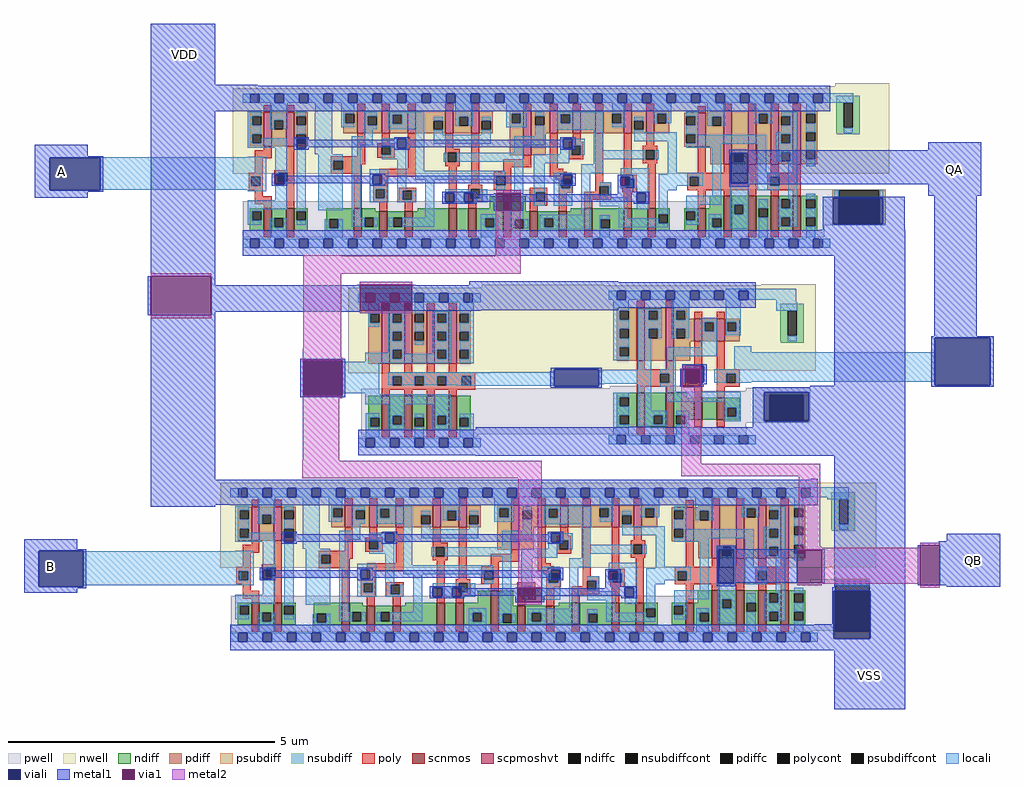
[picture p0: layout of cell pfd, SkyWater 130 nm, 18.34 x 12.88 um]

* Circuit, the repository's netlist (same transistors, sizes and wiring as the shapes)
* NGSPICE file created from pfd.ext - technology: sky130A

.subckt sky130_fd_sc_hd__dfrbp_2 CLK D RESET_B VGND VNB VPB VPWR Q Q_N
X0 a_1217_47# a_27_47# a_1108_47# VNB sky130_fd_pr__nfet_01v8 ad=0.0669 pd=0.75 as=0.0711 ps=0.755 w=0.36 l=0.15
X1 a_805_47# a_761_289# a_639_47# VNB sky130_fd_pr__nfet_01v8 ad=0.0441 pd=0.63 as=0.1401 ps=1.1 w=0.42 l=0.15
X2 a_1108_47# a_193_47# a_761_289# VNB sky130_fd_pr__nfet_01v8 ad=0.0711 pd=0.755 as=0.0999 ps=0.985 w=0.36 l=0.15
X3 a_1283_21# a_1108_47# a_1462_47# VNB sky130_fd_pr__nfet_01v8 ad=0.1092 pd=1.36 as=0.06405 ps=0.725 w=0.42 l=0.15
X4 Q_N a_1659_47# VGND VNB sky130_fd_pr__nfet_01v8 ad=0.08775 pd=0.92 as=0.08775 ps=0.92 w=0.65 l=0.15
X5 a_651_413# a_27_47# a_543_47# VPB sky130_fd_pr__pfet_01v8_hvt ad=0.1155 pd=0.97 as=0.07245 ps=0.765 w=0.42 l=0.15
X6 VGND RESET_B a_805_47# VNB sky130_fd_pr__nfet_01v8 ad=0.1346 pd=1.15 as=0.0441 ps=0.63 w=0.42 l=0.15
X7 VPWR a_1283_21# Q VPB sky130_fd_pr__pfet_01v8_hvt ad=0.135 pd=1.27 as=0.155 ps=1.31 w=1 l=0.15
X8 VPWR CLK a_27_47# VPB sky130_fd_pr__pfet_01v8_hvt ad=0.0864 pd=0.91 as=0.1664 ps=1.8 w=0.64 l=0.15
X9 a_448_47# D VPWR VPB sky130_fd_pr__pfet_01v8_hvt ad=0.0651 pd=0.73 as=0.1092 ps=1.36 w=0.42 l=0.15
X10 VPWR a_1283_21# a_1659_47# VPB sky130_fd_pr__pfet_01v8_hvt ad=0.1522 pd=1.335 as=0.1664 ps=1.8 w=0.64 l=0.15
X11 a_761_289# a_543_47# VGND VNB sky130_fd_pr__nfet_01v8 ad=0.0999 pd=0.985 as=0.1346 ps=1.15 w=0.64 l=0.15
X12 VGND a_1283_21# a_1659_47# VNB sky130_fd_pr__nfet_01v8 ad=0.10025 pd=0.985 as=0.1092 ps=1.36 w=0.42 l=0.15
X13 a_193_47# a_27_47# VGND VNB sky130_fd_pr__nfet_01v8 ad=0.1092 pd=1.36 as=0.0567 ps=0.69 w=0.42 l=0.15
X14 a_1108_47# a_27_47# a_761_289# VPB sky130_fd_pr__pfet_01v8_hvt ad=0.0588 pd=0.7 as=0.12915 ps=1.185 w=0.42 l=0.15
X15 VPWR a_1659_47# Q_N VPB sky130_fd_pr__pfet_01v8_hvt ad=0.31 pd=2.62 as=0.135 ps=1.27 w=1 l=0.15
X16 a_543_47# a_27_47# a_448_47# VNB sky130_fd_pr__nfet_01v8 ad=0.0594 pd=0.69 as=0.066 ps=0.745 w=0.36 l=0.15
X17 a_1462_47# RESET_B VGND VNB sky130_fd_pr__nfet_01v8 ad=0.06405 pd=0.725 as=0.12495 ps=1.015 w=0.42 l=0.15
X18 VGND a_1659_47# Q_N VNB sky130_fd_pr__nfet_01v8 ad=0.2015 pd=1.92 as=0.08775 ps=0.92 w=0.65 l=0.15
X19 a_543_47# a_193_47# a_448_47# VPB sky130_fd_pr__pfet_01v8_hvt ad=0.07245 pd=0.765 as=0.0651 ps=0.73 w=0.42 l=0.15
X20 a_448_47# D VGND VNB sky130_fd_pr__nfet_01v8 ad=0.066 pd=0.745 as=0.2205 ps=1.89 w=0.42 l=0.15
X21 VPWR a_1283_21# a_1270_413# VPB sky130_fd_pr__pfet_01v8_hvt ad=0.0819 pd=0.81 as=0.0567 ps=0.69 w=0.42 l=0.15
X22 VPWR a_1108_47# a_1283_21# VPB sky130_fd_pr__pfet_01v8_hvt ad=0.1197 pd=1.41 as=0.0567 ps=0.69 w=0.42 l=0.15
X23 a_1270_413# a_193_47# a_1108_47# VPB sky130_fd_pr__pfet_01v8_hvt ad=0.0567 pd=0.69 as=0.0588 ps=0.7 w=0.42 l=0.15
X24 a_193_47# a_27_47# VPWR VPB sky130_fd_pr__pfet_01v8_hvt ad=0.1664 pd=1.8 as=0.0864 ps=0.91 w=0.64 l=0.15
X25 a_1283_21# RESET_B VPWR VPB sky130_fd_pr__pfet_01v8_hvt ad=0.0567 pd=0.69 as=0.0819 ps=0.81 w=0.42 l=0.15
X26 Q a_1283_21# VGND VNB sky130_fd_pr__nfet_01v8 ad=0.10075 pd=0.96 as=0.10025 ps=0.985 w=0.65 l=0.15
X27 VPWR a_761_289# a_651_413# VPB sky130_fd_pr__pfet_01v8_hvt ad=0.07035 pd=0.755 as=0.1155 ps=0.97 w=0.42 l=0.15
X28 VGND a_1283_21# Q VNB sky130_fd_pr__nfet_01v8 ad=0.08775 pd=0.92 as=0.10075 ps=0.96 w=0.65 l=0.15
X29 Q_N a_1659_47# VPWR VPB sky130_fd_pr__pfet_01v8_hvt ad=0.135 pd=1.27 as=0.135 ps=1.27 w=1 l=0.15
X30 Q a_1283_21# VPWR VPB sky130_fd_pr__pfet_01v8_hvt ad=0.155 pd=1.31 as=0.1522 ps=1.335 w=1 l=0.15
X31 a_639_47# a_193_47# a_543_47# VNB sky130_fd_pr__nfet_01v8 ad=0.1401 pd=1.1 as=0.0594 ps=0.69 w=0.36 l=0.15
X32 VGND a_1283_21# a_1217_47# VNB sky130_fd_pr__nfet_01v8 ad=0.12495 pd=1.015 as=0.0669 ps=0.75 w=0.42 l=0.15
X33 a_651_413# RESET_B VPWR VPB sky130_fd_pr__pfet_01v8_hvt ad=0.1092 pd=1.36 as=0.07035 ps=0.755 w=0.42 l=0.15
X34 VGND CLK a_27_47# VNB sky130_fd_pr__nfet_01v8 ad=0.0567 pd=0.69 as=0.1092 ps=1.36 w=0.42 l=0.15
X35 a_761_289# a_543_47# VPWR VPB sky130_fd_pr__pfet_01v8_hvt ad=0.12915 pd=1.185 as=0.2184 ps=2.2 w=0.84 l=0.15
.ends

.subckt sky130_fd_sc_hd__and2_2 A B VGND VNB VPB VPWR X
X0 X a_61_75# VPWR VPB sky130_fd_pr__pfet_01v8_hvt ad=0.195 pd=1.39 as=0.16655 ps=1.39 w=1 l=0.15
X1 VPWR a_61_75# X VPB sky130_fd_pr__pfet_01v8_hvt ad=0.38 pd=2.76 as=0.195 ps=1.39 w=1 l=0.15
X2 VPWR B a_61_75# VPB sky130_fd_pr__pfet_01v8_hvt ad=0.16655 pd=1.39 as=0.0567 ps=0.69 w=0.42 l=0.15
X3 VGND B a_147_75# VNB sky130_fd_pr__nfet_01v8 ad=0.1118 pd=1.04 as=0.0567 ps=0.69 w=0.42 l=0.15
X4 X a_61_75# VGND VNB sky130_fd_pr__nfet_01v8 ad=0.12675 pd=1.04 as=0.1118 ps=1.04 w=0.65 l=0.15
X5 VGND a_61_75# X VNB sky130_fd_pr__nfet_01v8 ad=0.247 pd=2.06 as=0.12675 ps=1.04 w=0.65 l=0.15
X6 a_61_75# A VPWR VPB sky130_fd_pr__pfet_01v8_hvt ad=0.0567 pd=0.69 as=0.1176 ps=1.4 w=0.42 l=0.15
X7 a_147_75# A a_61_75# VNB sky130_fd_pr__nfet_01v8 ad=0.0567 pd=0.69 as=0.1176 ps=1.4 w=0.42 l=0.15
.ends

.subckt sky130_fd_sc_hd__inv_4 A VGND VNB VPB VPWR Y
X0 VPWR A Y VPB sky130_fd_pr__pfet_01v8_hvt ad=0.26 pd=2.52 as=0.135 ps=1.27 w=1 l=0.15
X1 Y A VPWR VPB sky130_fd_pr__pfet_01v8_hvt ad=0.135 pd=1.27 as=0.135 ps=1.27 w=1 l=0.15
X2 Y A VGND VNB sky130_fd_pr__nfet_01v8 ad=0.08775 pd=0.92 as=0.169 ps=1.82 w=0.65 l=0.15
X3 VPWR A Y VPB sky130_fd_pr__pfet_01v8_hvt ad=0.135 pd=1.27 as=0.135 ps=1.27 w=1 l=0.15
X4 VGND A Y VNB sky130_fd_pr__nfet_01v8 ad=0.08775 pd=0.92 as=0.08775 ps=0.92 w=0.65 l=0.15
X5 Y A VPWR VPB sky130_fd_pr__pfet_01v8_hvt ad=0.135 pd=1.27 as=0.26 ps=2.52 w=1 l=0.15
X6 VGND A Y VNB sky130_fd_pr__nfet_01v8 ad=0.169 pd=1.82 as=0.08775 ps=0.92 w=0.65 l=0.15
X7 Y A VGND VNB sky130_fd_pr__nfet_01v8 ad=0.08775 pd=0.92 as=0.08775 ps=0.92 w=0.65 l=0.15
.ends

.subckt pfd VSS VDD A QA QB B
Xx1 A VDD x4/Y VSS VSS VDD VDD QA x1/Q_N sky130_fd_sc_hd__dfrbp_2
Xx2 QA QB VSS VSS VDD VDD x4/A sky130_fd_sc_hd__and2_2
Xx3 B VDD x4/Y VSS VSS VDD VDD QB x3/Q_N sky130_fd_sc_hd__dfrbp_2
Xx4 x4/A VSS VSS VDD VDD x4/Y sky130_fd_sc_hd__inv_4
.ends

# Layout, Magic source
magic
tech sky130A
magscale 1 2
<< nwell >>
rect 3704 374 3908 384
rect 3672 328 3908 374
rect 3704 44 3908 328
rect 2376 -702 2832 -372
rect 3426 -696 3632 -370
rect 3674 -1434 3858 -1116
<< pwell >>
rect 3656 -150 3894 -14
rect 2360 -934 2862 -762
rect 3368 -892 3610 -760
rect 3610 -1674 3834 -1480
<< psubdiff >>
rect 3694 -148 3718 -18
rect 3870 -148 3894 -18
rect 3434 -882 3458 -786
rect 3584 -882 3608 -786
rect 3704 -1502 3834 -1478
rect 3704 -1700 3834 -1676
<< nsubdiff >>
rect 3708 311 3796 338
rect 3708 217 3737 311
rect 3771 217 3796 311
rect 3708 198 3796 217
rect 3710 192 3796 198
rect 3498 -471 3586 -444
rect 3498 -565 3527 -471
rect 3561 -565 3586 -471
rect 3498 -584 3586 -565
rect 3500 -590 3586 -584
rect 3690 -1179 3778 -1152
rect 3690 -1273 3719 -1179
rect 3753 -1273 3778 -1179
rect 3690 -1292 3778 -1273
rect 3692 -1298 3778 -1292
<< psubdiffcont >>
rect 3718 -148 3870 -18
rect 3458 -882 3584 -786
rect 3704 -1676 3834 -1502
<< nsubdiffcont >>
rect 3737 217 3771 311
rect 3527 -565 3561 -471
rect 3719 -1273 3753 -1179
<< locali >>
rect 3658 312 3772 346
rect 1750 256 1814 312
rect 3737 311 3771 312
rect 3737 196 3771 217
rect 890 104 1560 106
rect 942 -16 1560 104
rect 3702 -48 3718 -18
rect 3870 -48 3886 -18
rect 3884 -146 3886 -48
rect 3702 -148 3718 -146
rect 3870 -148 3886 -146
rect 3294 -430 3558 -388
rect 3484 -436 3558 -430
rect 3484 -470 3562 -436
rect 3527 -471 3561 -470
rect 3527 -586 3561 -565
rect 1852 -780 1982 -662
rect 2282 -752 2648 -702
rect 2816 -744 3012 -692
rect 3338 -738 4078 -626
rect 2816 -746 2836 -744
rect 2964 -746 3012 -744
rect 1704 -1226 1766 -1168
rect 3548 -1172 3756 -1134
rect 3674 -1178 3754 -1172
rect 3719 -1179 3753 -1178
rect 3719 -1294 3753 -1273
rect 878 -1502 1470 -1374
rect 3704 -1502 3834 -1486
<< viali >>
rect 752 -18 942 104
rect 3312 8 3376 122
rect 3698 -146 3718 -48
rect 3718 -146 3870 -48
rect 3870 -146 3884 -48
rect 1706 -790 1852 -656
rect 2648 -754 2816 -690
rect 3142 -740 3210 -678
rect 4078 -750 4288 -572
rect 3438 -786 3606 -776
rect 3438 -882 3458 -786
rect 3458 -882 3584 -786
rect 3584 -882 3606 -786
rect 3438 -886 3606 -882
rect 712 -1508 878 -1372
rect 3266 -1494 3324 -1366
rect 3700 -1676 3704 -1522
rect 3704 -1676 3834 -1522
rect 3834 -1676 3836 -1522
rect 3700 -1704 3836 -1676
<< metal1 >>
rect 1132 378 1374 608
rect 1132 280 1534 378
rect 696 110 896 154
rect 696 104 954 110
rect 696 -18 752 104
rect 942 -18 954 104
rect 696 -24 954 -18
rect 696 -46 896 -24
rect 1132 -340 1374 280
rect 3306 132 3382 134
rect 4054 132 4254 162
rect 3306 122 4254 132
rect 3306 8 3312 122
rect 3376 8 4254 122
rect 3306 4 4254 8
rect 3306 -4 3382 4
rect 2421 -94 2431 -28
rect 2523 -94 2533 -28
rect 4054 -38 4254 4
rect 3658 -48 3966 -42
rect 3658 -146 3698 -48
rect 3884 -146 3966 -48
rect 3658 -166 3966 -146
rect 3644 -264 3968 -166
rect 1122 -488 1132 -340
rect 1360 -374 1374 -340
rect 1908 -374 1918 -372
rect 1360 -474 1918 -374
rect 2116 -470 2126 -372
rect 2330 -468 2890 -360
rect 1360 -488 1374 -474
rect 1132 -1106 1374 -488
rect 1694 -656 1864 -650
rect 1694 -790 1706 -656
rect 1852 -790 1864 -656
rect 3130 -678 3222 -672
rect 2636 -690 2828 -684
rect 3130 -688 3142 -678
rect 2636 -698 2648 -690
rect 2634 -754 2648 -698
rect 2816 -754 2828 -690
rect 2636 -760 2828 -754
rect 3122 -756 3132 -688
rect 3210 -740 3222 -678
rect 3200 -746 3222 -740
rect 3200 -756 3210 -746
rect 3702 -752 3968 -264
rect 4076 -566 4236 -38
rect 3610 -758 3968 -752
rect 4066 -572 4300 -566
rect 4066 -750 4078 -572
rect 4288 -750 4300 -572
rect 4066 -756 4300 -750
rect 1694 -796 1864 -790
rect 3394 -776 3968 -758
rect 3394 -886 3438 -776
rect 3606 -886 3968 -776
rect 2933 -908 3007 -906
rect 3394 -908 3968 -886
rect 2354 -1016 3968 -908
rect 1132 -1200 1474 -1106
rect 1132 -1208 1374 -1200
rect 3610 -1202 3640 -1102
rect 656 -1366 856 -1330
rect 3260 -1366 3330 -1354
rect 656 -1372 890 -1366
rect 656 -1508 712 -1372
rect 878 -1508 890 -1372
rect 3260 -1494 3266 -1366
rect 3324 -1368 3666 -1366
rect 3324 -1492 3562 -1368
rect 3654 -1492 3666 -1368
rect 3324 -1494 3330 -1492
rect 3260 -1506 3330 -1494
rect 656 -1514 890 -1508
rect 3702 -1510 3968 -1016
rect 4124 -1336 4324 -1308
rect 4094 -1352 4324 -1336
rect 4014 -1502 4024 -1352
rect 4098 -1502 4324 -1352
rect 4124 -1508 4324 -1502
rect 656 -1530 856 -1514
rect 2502 -1566 2512 -1512
rect 2602 -1566 2612 -1512
rect 3694 -1522 3968 -1510
rect 3694 -1648 3700 -1522
rect 3628 -1704 3700 -1648
rect 3836 -1704 3968 -1522
rect 3628 -1746 3968 -1704
rect 3702 -1968 3968 -1746
<< via1 >>
rect 2431 -94 2523 -28
rect 1132 -488 1360 -340
rect 1918 -470 2116 -372
rect 1706 -790 1852 -656
rect 3132 -740 3142 -688
rect 3142 -740 3200 -688
rect 3132 -756 3200 -740
rect 3562 -1492 3654 -1368
rect 4024 -1502 4098 -1352
rect 2512 -1566 2602 -1512
<< metal2 >>
rect 2431 -28 2523 -18
rect 2429 -94 2431 -28
rect 2429 -104 2523 -94
rect 1706 -264 1848 -262
rect 2429 -264 2521 -104
rect 1132 -340 1360 -330
rect 1132 -498 1360 -488
rect 1706 -332 2522 -264
rect 1706 -614 1848 -332
rect 1918 -372 2116 -362
rect 1918 -480 2116 -470
rect 1704 -646 1848 -614
rect 1704 -656 1852 -646
rect 1704 -790 1706 -656
rect 3132 -688 3200 -678
rect 1704 -800 1852 -790
rect 3126 -756 3132 -690
rect 3200 -756 3202 -690
rect 1704 -1034 1840 -800
rect 1702 -1100 2602 -1034
rect 3126 -1046 3202 -756
rect 3126 -1092 3648 -1046
rect 2514 -1502 2602 -1100
rect 3568 -1358 3648 -1092
rect 4024 -1352 4098 -1342
rect 3562 -1362 3654 -1358
rect 3562 -1368 4024 -1362
rect 3654 -1492 4024 -1368
rect 3562 -1496 4024 -1492
rect 3562 -1502 3654 -1496
rect 2512 -1512 2602 -1502
rect 4024 -1512 4098 -1502
rect 2512 -1576 2602 -1566
use sky130_fd_sc_hd__dfrbp_2  x1 $PDKPATH/libs.ref/sky130_fd_sc_hd/mag
transform 1 0 1478 0 1 -216
box -38 -48 2246 592
use sky130_fd_sc_hd__and2_2  x2 $PDKPATH/libs.ref/sky130_fd_sc_hd/mag
transform -1 0 3406 0 1 -956
box -38 -48 590 592
use sky130_fd_sc_hd__dfrbp_2  x3
transform 1 0 1432 0 1 -1698
box -38 -48 2246 592
use sky130_fd_sc_hd__inv_4  x4 $PDKPATH/libs.ref/sky130_fd_sc_hd/mag
transform -1 0 2372 0 1 -966
box -38 -48 498 592
<< labels >>
flabel metal1 3734 -1940 3934 -1740 0 FreeSans 256 0 0 0 VSS
port 0 nsew
flabel metal1 656 -1530 856 -1330 0 FreeSans 256 0 0 0 B
port 5 nsew
flabel metal1 4124 -1508 4324 -1308 0 FreeSans 256 0 0 0 QB
port 4 nsew
flabel metal1 4054 -38 4254 162 0 FreeSans 256 0 0 0 QA
port 3 nsew
flabel metal1 696 -46 896 154 0 FreeSans 256 0 0 0 A
port 2 nsew
flabel metal1 1160 394 1360 594 0 FreeSans 256 0 0 0 VDD
port 1 nsew
<< end >>

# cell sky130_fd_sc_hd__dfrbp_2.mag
magic
tech sky130A
magscale 1 2
<< nwell >>
rect -38 261 2246 582
<< pwell >>
rect 903 157 1089 201
rect 1730 157 2186 203
rect 1 21 2186 157
rect 29 -17 63 21
<< scnmos >>
rect 79 47 109 131
rect 163 47 193 131
rect 418 47 448 131
rect 513 47 543 119
rect 609 47 639 119
rect 775 47 805 131
rect 847 47 877 131
rect 979 47 1009 175
rect 1078 47 1108 119
rect 1187 47 1217 119
rect 1283 47 1313 131
rect 1432 47 1462 131
rect 1523 47 1553 131
rect 1711 47 1741 131
rect 1808 47 1838 177
rect 1900 47 1930 177
rect 1984 47 2014 177
rect 2068 47 2098 177
<< scpmoshvt >>
rect 79 363 109 491
rect 163 363 193 491
rect 430 413 460 497
rect 522 413 552 497
rect 621 413 651 497
rect 761 413 791 497
rect 858 413 888 497
rect 1055 329 1085 497
rect 1154 413 1184 497
rect 1240 413 1270 497
rect 1324 413 1354 497
rect 1432 413 1462 497
rect 1516 413 1546 497
rect 1711 361 1741 489
rect 1808 297 1838 497
rect 1900 297 1930 497
rect 1984 297 2014 497
rect 2068 297 2098 497
<< ndiff >>
rect 27 119 79 131
rect 27 85 35 119
rect 69 85 79 119
rect 27 47 79 85
rect 109 93 163 131
rect 109 59 119 93
rect 153 59 163 93
rect 109 47 163 59
rect 193 119 245 131
rect 193 85 203 119
rect 237 85 245 119
rect 193 47 245 85
rect 313 89 418 131
rect 313 55 325 89
rect 359 55 418 89
rect 313 47 418 55
rect 448 119 498 131
rect 929 131 979 175
rect 657 119 775 131
rect 448 95 513 119
rect 448 61 458 95
rect 492 61 513 95
rect 448 47 513 61
rect 543 95 609 119
rect 543 61 565 95
rect 599 61 609 95
rect 543 47 609 61
rect 639 47 775 119
rect 805 47 847 131
rect 877 93 979 131
rect 877 59 911 93
rect 945 59 979 93
rect 877 47 979 59
rect 1009 119 1063 175
rect 1756 131 1808 177
rect 1233 119 1283 131
rect 1009 89 1078 119
rect 1009 55 1023 89
rect 1057 55 1078 89
rect 1009 47 1078 55
rect 1108 93 1187 119
rect 1108 59 1133 93
rect 1167 59 1187 93
rect 1108 47 1187 59
rect 1217 47 1283 119
rect 1313 89 1432 131
rect 1313 55 1345 89
rect 1379 55 1432 89
rect 1313 47 1432 55
rect 1462 47 1523 131
rect 1553 109 1605 131
rect 1553 75 1563 109
rect 1597 75 1605 109
rect 1553 47 1605 75
rect 1659 119 1711 131
rect 1659 85 1667 119
rect 1701 85 1711 119
rect 1659 47 1711 85
rect 1741 93 1808 131
rect 1741 59 1764 93
rect 1798 59 1808 93
rect 1741 47 1808 59
rect 1838 143 1900 177
rect 1838 109 1848 143
rect 1882 109 1900 143
rect 1838 47 1900 109
rect 1930 130 1984 177
rect 1930 96 1940 130
rect 1974 96 1984 130
rect 1930 47 1984 96
rect 2014 165 2068 177
rect 2014 131 2024 165
rect 2058 131 2068 165
rect 2014 97 2068 131
rect 2014 63 2024 97
rect 2058 63 2068 97
rect 2014 47 2068 63
rect 2098 165 2160 177
rect 2098 131 2118 165
rect 2152 131 2160 165
rect 2098 97 2160 131
rect 2098 63 2118 97
rect 2152 63 2160 97
rect 2098 47 2160 63
<< pdiff >>
rect 27 477 79 491
rect 27 443 35 477
rect 69 443 79 477
rect 27 409 79 443
rect 27 375 35 409
rect 69 375 79 409
rect 27 363 79 375
rect 109 461 163 491
rect 109 427 119 461
rect 153 427 163 461
rect 109 363 163 427
rect 193 477 245 491
rect 193 443 203 477
rect 237 443 245 477
rect 193 409 245 443
rect 378 485 430 497
rect 378 451 386 485
rect 420 451 430 485
rect 378 413 430 451
rect 460 477 522 497
rect 460 443 470 477
rect 504 443 522 477
rect 460 413 522 443
rect 552 483 621 497
rect 552 449 563 483
rect 597 449 621 483
rect 552 413 621 449
rect 651 459 761 497
rect 651 425 717 459
rect 751 425 761 459
rect 651 413 761 425
rect 791 475 858 497
rect 791 441 814 475
rect 848 441 858 475
rect 791 413 858 441
rect 888 459 940 497
rect 888 425 898 459
rect 932 425 940 459
rect 888 413 940 425
rect 1003 485 1055 497
rect 1003 451 1011 485
rect 1045 451 1055 485
rect 193 375 203 409
rect 237 375 245 409
rect 193 363 245 375
rect 1003 329 1055 451
rect 1085 477 1154 497
rect 1085 443 1099 477
rect 1133 443 1154 477
rect 1085 413 1154 443
rect 1184 484 1240 497
rect 1184 450 1196 484
rect 1230 450 1240 484
rect 1184 413 1240 450
rect 1270 413 1324 497
rect 1354 485 1432 497
rect 1354 451 1388 485
rect 1422 451 1432 485
rect 1354 413 1432 451
rect 1462 459 1516 497
rect 1462 425 1472 459
rect 1506 425 1516 459
rect 1462 413 1516 425
rect 1546 485 1603 497
rect 1758 489 1808 497
rect 1546 451 1558 485
rect 1592 451 1603 485
rect 1546 413 1603 451
rect 1659 477 1711 489
rect 1659 443 1667 477
rect 1701 443 1711 477
rect 1085 329 1139 413
rect 1659 409 1711 443
rect 1659 375 1667 409
rect 1701 375 1711 409
rect 1659 361 1711 375
rect 1741 475 1808 489
rect 1741 441 1764 475
rect 1798 441 1808 475
rect 1741 361 1808 441
rect 1758 297 1808 361
rect 1838 339 1900 497
rect 1838 305 1848 339
rect 1882 305 1900 339
rect 1838 297 1900 305
rect 1930 485 1984 497
rect 1930 451 1940 485
rect 1974 451 1984 485
rect 1930 297 1984 451
rect 2014 477 2068 497
rect 2014 443 2024 477
rect 2058 443 2068 477
rect 2014 409 2068 443
rect 2014 375 2024 409
rect 2058 375 2068 409
rect 2014 341 2068 375
rect 2014 307 2024 341
rect 2058 307 2068 341
rect 2014 297 2068 307
rect 2098 485 2160 497
rect 2098 451 2118 485
rect 2152 451 2160 485
rect 2098 417 2160 451
rect 2098 383 2118 417
rect 2152 383 2160 417
rect 2098 349 2160 383
rect 2098 315 2118 349
rect 2152 315 2160 349
rect 2098 297 2160 315
<< ndiffc >>
rect 35 85 69 119
rect 119 59 153 93
rect 203 85 237 119
rect 325 55 359 89
rect 458 61 492 95
rect 565 61 599 95
rect 911 59 945 93
rect 1023 55 1057 89
rect 1133 59 1167 93
rect 1345 55 1379 89
rect 1563 75 1597 109
rect 1667 85 1701 119
rect 1764 59 1798 93
rect 1848 109 1882 143
rect 1940 96 1974 130
rect 2024 131 2058 165
rect 2024 63 2058 97
rect 2118 131 2152 165
rect 2118 63 2152 97
<< pdiffc >>
rect 35 443 69 477
rect 35 375 69 409
rect 119 427 153 461
rect 203 443 237 477
rect 386 451 420 485
rect 470 443 504 477
rect 563 449 597 483
rect 717 425 751 459
rect 814 441 848 475
rect 898 425 932 459
rect 1011 451 1045 485
rect 203 375 237 409
rect 1099 443 1133 477
rect 1196 450 1230 484
rect 1388 451 1422 485
rect 1472 425 1506 459
rect 1558 451 1592 485
rect 1667 443 1701 477
rect 1667 375 1701 409
rect 1764 441 1798 475
rect 1848 305 1882 339
rect 1940 451 1974 485
rect 2024 443 2058 477
rect 2024 375 2058 409
rect 2024 307 2058 341
rect 2118 451 2152 485
rect 2118 383 2152 417
rect 2118 315 2152 349
<< poly >>
rect 79 491 109 517
rect 163 491 193 517
rect 430 497 460 523
rect 522 497 552 523
rect 621 497 651 523
rect 761 497 791 523
rect 858 497 888 523
rect 1055 497 1085 523
rect 1154 497 1184 523
rect 1240 497 1270 523
rect 1324 497 1354 523
rect 1432 497 1462 523
rect 1516 497 1546 523
rect 79 348 109 363
rect 46 318 109 348
rect 46 265 76 318
rect 163 274 193 363
rect 430 326 460 413
rect 522 375 552 413
rect 22 249 76 265
rect 22 215 32 249
rect 66 215 76 249
rect 118 264 193 274
rect 118 230 134 264
rect 168 230 193 264
rect 331 310 460 326
rect 506 365 572 375
rect 506 331 522 365
rect 556 331 572 365
rect 506 321 572 331
rect 331 276 341 310
rect 375 296 460 310
rect 375 276 448 296
rect 621 279 651 413
rect 761 355 791 413
rect 761 339 816 355
rect 761 305 771 339
rect 805 305 816 339
rect 761 289 816 305
rect 331 260 448 276
rect 118 220 193 230
rect 22 199 76 215
rect 46 176 76 199
rect 46 146 109 176
rect 79 131 109 146
rect 163 131 193 220
rect 418 131 448 260
rect 513 249 651 279
rect 513 219 544 249
rect 490 203 544 219
rect 490 169 500 203
rect 534 169 544 203
rect 490 153 544 169
rect 586 197 652 207
rect 586 163 602 197
rect 636 163 652 197
rect 586 153 652 163
rect 513 119 543 153
rect 609 119 639 153
rect 775 131 805 289
rect 858 219 888 413
rect 1711 489 1741 515
rect 1808 497 1838 523
rect 1900 497 1930 523
rect 1984 497 2014 523
rect 2068 497 2098 523
rect 1055 314 1085 329
rect 979 284 1085 314
rect 979 267 1009 284
rect 943 251 1009 267
rect 847 203 901 219
rect 847 169 857 203
rect 891 169 901 203
rect 943 217 953 251
rect 987 217 1009 251
rect 1154 279 1184 413
rect 1240 381 1270 413
rect 1226 365 1280 381
rect 1226 331 1236 365
rect 1270 331 1280 365
rect 1226 315 1280 331
rect 1154 267 1204 279
rect 1154 255 1217 267
rect 1154 249 1241 255
rect 1175 239 1241 249
rect 1175 237 1197 239
rect 943 201 1009 217
rect 979 175 1009 201
rect 1078 191 1145 207
rect 847 153 901 169
rect 847 131 877 153
rect 1078 157 1101 191
rect 1135 157 1145 191
rect 1078 141 1145 157
rect 1187 205 1197 237
rect 1231 205 1241 239
rect 1187 189 1241 205
rect 1324 229 1354 413
rect 1432 257 1462 413
rect 1516 365 1546 413
rect 1504 349 1558 365
rect 1504 315 1514 349
rect 1548 315 1558 349
rect 1504 299 1558 315
rect 1427 241 1481 257
rect 1324 213 1385 229
rect 1324 193 1341 213
rect 1078 119 1108 141
rect 1187 119 1217 189
rect 1283 179 1341 193
rect 1375 179 1385 213
rect 1427 207 1437 241
rect 1471 207 1481 241
rect 1427 191 1481 207
rect 1283 163 1385 179
rect 1283 131 1313 163
rect 1432 131 1462 191
rect 1523 131 1553 299
rect 1711 265 1741 361
rect 1808 265 1838 297
rect 1900 265 1930 297
rect 1984 265 2014 297
rect 2068 265 2098 297
rect 1670 249 1930 265
rect 1670 215 1680 249
rect 1714 215 1930 249
rect 1670 199 1930 215
rect 1972 249 2098 265
rect 1972 215 1982 249
rect 2016 215 2098 249
rect 1972 199 2098 215
rect 1711 131 1741 199
rect 1808 177 1838 199
rect 1900 177 1930 199
rect 1984 177 2014 199
rect 2068 177 2098 199
rect 79 21 109 47
rect 163 21 193 47
rect 418 21 448 47
rect 513 21 543 47
rect 609 21 639 47
rect 775 21 805 47
rect 847 21 877 47
rect 979 21 1009 47
rect 1078 21 1108 47
rect 1187 21 1217 47
rect 1283 21 1313 47
rect 1432 21 1462 47
rect 1523 21 1553 47
rect 1711 21 1741 47
rect 1808 21 1838 47
rect 1900 21 1930 47
rect 1984 21 2014 47
rect 2068 21 2098 47
<< polycont >>
rect 32 215 66 249
rect 134 230 168 264
rect 522 331 556 365
rect 341 276 375 310
rect 771 305 805 339
rect 500 169 534 203
rect 602 163 636 197
rect 857 169 891 203
rect 953 217 987 251
rect 1236 331 1270 365
rect 1101 157 1135 191
rect 1197 205 1231 239
rect 1514 315 1548 349
rect 1341 179 1375 213
rect 1437 207 1471 241
rect 1680 215 1714 249
rect 1982 215 2016 249
<< locali >>
rect 0 527 29 561
rect 63 527 121 561
rect 155 527 213 561
rect 247 527 305 561
rect 339 527 397 561
rect 431 527 489 561
rect 523 527 581 561
rect 615 527 673 561
rect 707 527 765 561
rect 799 527 857 561
rect 891 527 949 561
rect 983 527 1041 561
rect 1075 527 1133 561
rect 1167 527 1225 561
rect 1259 527 1317 561
rect 1351 527 1409 561
rect 1443 527 1501 561
rect 1535 527 1593 561
rect 1627 527 1685 561
rect 1719 527 1777 561
rect 1811 527 1869 561
rect 1903 527 1961 561
rect 1995 527 2053 561
rect 2087 527 2145 561
rect 2179 527 2208 561
rect 18 477 69 493
rect 18 443 35 477
rect 18 409 69 443
rect 103 461 169 527
rect 103 427 119 461
rect 153 427 169 461
rect 203 477 237 493
rect 18 375 35 409
rect 203 409 237 443
rect 69 375 168 393
rect 18 359 168 375
rect 18 249 88 325
rect 18 215 32 249
rect 66 215 88 249
rect 18 195 88 215
rect 122 264 168 359
rect 122 255 134 264
rect 156 221 168 230
rect 122 161 168 221
rect 18 127 168 161
rect 18 119 69 127
rect 18 85 35 119
rect 203 119 237 357
rect 271 333 336 490
rect 370 485 420 527
rect 370 451 386 485
rect 370 435 420 451
rect 454 477 504 493
rect 454 443 470 477
rect 454 427 504 443
rect 547 483 683 493
rect 547 449 563 483
rect 597 449 683 483
rect 798 475 864 527
rect 991 485 1065 527
rect 547 427 683 449
rect 454 401 488 427
rect 409 367 488 401
rect 522 391 615 393
rect 283 310 375 333
rect 283 276 341 310
rect 283 123 375 276
rect 18 69 69 85
rect 103 59 119 93
rect 153 59 169 93
rect 409 95 443 367
rect 522 365 581 391
rect 556 357 581 365
rect 556 331 615 357
rect 522 315 615 331
rect 477 255 547 277
rect 477 221 489 255
rect 523 221 547 255
rect 477 203 547 221
rect 477 169 500 203
rect 534 169 547 203
rect 477 153 547 169
rect 581 197 615 315
rect 649 271 683 427
rect 717 459 751 475
rect 798 441 814 475
rect 848 441 864 475
rect 898 459 932 475
rect 717 407 751 425
rect 991 451 1011 485
rect 1045 451 1065 485
rect 991 435 1065 451
rect 1099 477 1133 493
rect 898 407 932 425
rect 717 373 932 407
rect 1099 401 1133 443
rect 1180 484 1354 493
rect 1180 450 1196 484
rect 1230 450 1354 484
rect 1180 425 1354 450
rect 1388 485 1438 527
rect 1422 451 1438 485
rect 1542 485 1611 527
rect 1388 435 1438 451
rect 1472 459 1506 475
rect 1021 367 1133 401
rect 1021 339 1055 367
rect 755 305 771 339
rect 805 305 1055 339
rect 1194 357 1205 391
rect 1239 365 1286 391
rect 1194 333 1236 357
rect 649 251 987 271
rect 649 237 953 251
rect 581 163 602 197
rect 636 163 652 197
rect 581 153 652 163
rect 686 95 720 237
rect 761 187 857 203
rect 795 153 833 187
rect 891 169 919 203
rect 953 201 987 217
rect 867 153 919 169
rect 1021 167 1055 305
rect 203 69 237 85
rect 103 17 169 59
rect 309 55 325 89
rect 359 55 375 89
rect 409 61 458 95
rect 492 61 508 95
rect 549 61 565 95
rect 599 61 720 95
rect 895 93 961 109
rect 309 17 375 55
rect 895 59 911 93
rect 945 59 961 93
rect 895 17 961 59
rect 1003 89 1055 167
rect 1093 331 1236 333
rect 1270 331 1286 365
rect 1320 349 1354 425
rect 1542 451 1558 485
rect 1592 451 1611 485
rect 1667 477 1712 493
rect 1472 417 1506 425
rect 1701 443 1712 477
rect 1472 383 1632 417
rect 1093 299 1228 331
rect 1320 315 1514 349
rect 1548 315 1564 349
rect 1093 191 1135 299
rect 1320 297 1354 315
rect 1093 157 1101 191
rect 1093 141 1135 157
rect 1169 255 1239 265
rect 1169 239 1205 255
rect 1169 205 1197 239
rect 1231 205 1239 221
rect 1169 141 1239 205
rect 1273 263 1354 297
rect 1273 107 1307 263
rect 1421 250 1529 281
rect 1598 265 1632 383
rect 1667 409 1712 443
rect 1746 475 1814 527
rect 1746 441 1764 475
rect 1798 441 1814 475
rect 1924 485 1990 527
rect 1924 451 1940 485
rect 1974 451 1990 485
rect 2024 477 2084 493
rect 2058 443 2084 477
rect 2024 416 2084 443
rect 1701 407 1712 409
rect 2006 409 2084 416
rect 1701 375 1967 407
rect 1667 373 1967 375
rect 1667 359 1798 373
rect 1598 259 1730 265
rect 1455 241 1529 250
rect 1341 213 1385 229
rect 1375 179 1385 213
rect 1421 207 1437 216
rect 1471 207 1529 241
rect 1341 173 1385 179
rect 1481 187 1529 207
rect 1341 139 1447 173
rect 1117 93 1307 107
rect 1003 55 1023 89
rect 1057 55 1073 89
rect 1117 59 1133 93
rect 1167 59 1307 93
rect 1117 51 1307 59
rect 1341 89 1379 105
rect 1341 55 1345 89
rect 1413 93 1447 139
rect 1515 153 1529 187
rect 1481 127 1529 153
rect 1563 249 1730 259
rect 1563 215 1680 249
rect 1714 215 1730 249
rect 1563 199 1632 215
rect 1563 109 1597 199
rect 1764 177 1798 359
rect 1413 75 1563 93
rect 1413 59 1597 75
rect 1667 143 1798 177
rect 1832 305 1848 339
rect 1882 305 1899 339
rect 1832 143 1899 305
rect 1933 265 1967 373
rect 2006 375 2024 409
rect 2058 375 2084 409
rect 2006 341 2084 375
rect 2006 307 2024 341
rect 2058 307 2084 341
rect 1933 249 2016 265
rect 1933 215 1982 249
rect 1933 199 2016 215
rect 2050 165 2084 307
rect 2118 485 2152 527
rect 2118 417 2152 451
rect 2118 349 2152 383
rect 2118 289 2152 315
rect 1667 119 1717 143
rect 1701 85 1717 119
rect 1832 109 1848 143
rect 1882 109 1899 143
rect 1667 69 1717 85
rect 1751 93 1798 109
rect 1751 59 1764 93
rect 1341 17 1379 55
rect 1751 17 1798 59
rect 1832 53 1899 109
rect 1940 130 1974 165
rect 1940 17 1974 96
rect 2008 131 2024 165
rect 2058 131 2084 165
rect 2008 97 2084 131
rect 2008 63 2024 97
rect 2058 63 2084 97
rect 2008 62 2084 63
rect 2118 165 2152 186
rect 2118 97 2152 131
rect 2118 17 2152 63
rect 0 -17 29 17
rect 63 -17 121 17
rect 155 -17 213 17
rect 247 -17 305 17
rect 339 -17 397 17
rect 431 -17 489 17
rect 523 -17 581 17
rect 615 -17 673 17
rect 707 -17 765 17
rect 799 -17 857 17
rect 891 -17 949 17
rect 983 -17 1041 17
rect 1075 -17 1133 17
rect 1167 -17 1225 17
rect 1259 -17 1317 17
rect 1351 -17 1409 17
rect 1443 -17 1501 17
rect 1535 -17 1593 17
rect 1627 -17 1685 17
rect 1719 -17 1777 17
rect 1811 -17 1869 17
rect 1903 -17 1961 17
rect 1995 -17 2053 17
rect 2087 -17 2145 17
rect 2179 -17 2208 17
<< viali >>
rect 29 527 63 561
rect 121 527 155 561
rect 213 527 247 561
rect 305 527 339 561
rect 397 527 431 561
rect 489 527 523 561
rect 581 527 615 561
rect 673 527 707 561
rect 765 527 799 561
rect 857 527 891 561
rect 949 527 983 561
rect 1041 527 1075 561
rect 1133 527 1167 561
rect 1225 527 1259 561
rect 1317 527 1351 561
rect 1409 527 1443 561
rect 1501 527 1535 561
rect 1593 527 1627 561
rect 1685 527 1719 561
rect 1777 527 1811 561
rect 1869 527 1903 561
rect 1961 527 1995 561
rect 2053 527 2087 561
rect 2145 527 2179 561
rect 122 230 134 255
rect 134 230 156 255
rect 122 221 156 230
rect 203 375 237 391
rect 203 357 237 375
rect 581 357 615 391
rect 489 221 523 255
rect 1205 365 1239 391
rect 1205 357 1236 365
rect 1236 357 1239 365
rect 761 153 795 187
rect 833 169 857 187
rect 857 169 867 187
rect 833 153 867 169
rect 1205 239 1239 255
rect 1205 221 1231 239
rect 1231 221 1239 239
rect 1421 241 1455 250
rect 1421 216 1437 241
rect 1437 216 1455 241
rect 1481 153 1515 187
rect 29 -17 63 17
rect 121 -17 155 17
rect 213 -17 247 17
rect 305 -17 339 17
rect 397 -17 431 17
rect 489 -17 523 17
rect 581 -17 615 17
rect 673 -17 707 17
rect 765 -17 799 17
rect 857 -17 891 17
rect 949 -17 983 17
rect 1041 -17 1075 17
rect 1133 -17 1167 17
rect 1225 -17 1259 17
rect 1317 -17 1351 17
rect 1409 -17 1443 17
rect 1501 -17 1535 17
rect 1593 -17 1627 17
rect 1685 -17 1719 17
rect 1777 -17 1811 17
rect 1869 -17 1903 17
rect 1961 -17 1995 17
rect 2053 -17 2087 17
rect 2145 -17 2179 17
<< metal1 >>
rect 0 561 2208 592
rect 0 527 29 561
rect 63 527 121 561
rect 155 527 213 561
rect 247 527 305 561
rect 339 527 397 561
rect 431 527 489 561
rect 523 527 581 561
rect 615 527 673 561
rect 707 527 765 561
rect 799 527 857 561
rect 891 527 949 561
rect 983 527 1041 561
rect 1075 527 1133 561
rect 1167 527 1225 561
rect 1259 527 1317 561
rect 1351 527 1409 561
rect 1443 527 1501 561
rect 1535 527 1593 561
rect 1627 527 1685 561
rect 1719 527 1777 561
rect 1811 527 1869 561
rect 1903 527 1961 561
rect 1995 527 2053 561
rect 2087 527 2145 561
rect 2179 527 2208 561
rect 0 496 2208 527
rect 191 391 249 397
rect 191 357 203 391
rect 237 388 249 391
rect 569 391 627 397
rect 569 388 581 391
rect 237 360 581 388
rect 237 357 249 360
rect 191 351 249 357
rect 569 357 581 360
rect 615 388 627 391
rect 1193 391 1251 397
rect 1193 388 1205 391
rect 615 360 1205 388
rect 615 357 627 360
rect 569 351 627 357
rect 1193 357 1205 360
rect 1239 357 1251 391
rect 1193 351 1251 357
rect 110 255 168 261
rect 110 221 122 255
rect 156 252 168 255
rect 477 255 535 261
rect 477 252 489 255
rect 156 224 489 252
rect 156 221 168 224
rect 110 215 168 221
rect 477 221 489 224
rect 523 252 535 255
rect 1193 255 1251 261
rect 1193 252 1205 255
rect 523 224 1205 252
rect 523 221 535 224
rect 477 215 535 221
rect 1193 221 1205 224
rect 1239 221 1251 255
rect 1193 215 1251 221
rect 1409 250 1467 256
rect 1409 216 1421 250
rect 1455 216 1467 250
rect 1409 193 1467 216
rect 749 187 879 193
rect 749 153 761 187
rect 795 153 833 187
rect 867 184 879 187
rect 1409 187 1527 193
rect 1409 184 1481 187
rect 867 156 1481 184
rect 867 153 879 156
rect 749 147 879 153
rect 1469 153 1481 156
rect 1515 153 1527 187
rect 1469 147 1527 153
rect 0 17 2208 48
rect 0 -17 29 17
rect 63 -17 121 17
rect 155 -17 213 17
rect 247 -17 305 17
rect 339 -17 397 17
rect 431 -17 489 17
rect 523 -17 581 17
rect 615 -17 673 17
rect 707 -17 765 17
rect 799 -17 857 17
rect 891 -17 949 17
rect 983 -17 1041 17
rect 1075 -17 1133 17
rect 1167 -17 1225 17
rect 1259 -17 1317 17
rect 1351 -17 1409 17
rect 1443 -17 1501 17
rect 1535 -17 1593 17
rect 1627 -17 1685 17
rect 1719 -17 1777 17
rect 1811 -17 1869 17
rect 1903 -17 1961 17
rect 1995 -17 2053 17
rect 2087 -17 2145 17
rect 2179 -17 2208 17
rect 0 -48 2208 -17
<< labels >>
flabel locali s 1851 213 1883 249 0 FreeSans 200 0 0 0 Q
port 10 nsew
flabel locali s 2055 222 2078 257 0 FreeSans 200 0 0 0 Q_N
port 9 nsew
flabel locali s 1481 153 1515 187 0 FreeSans 400 0 0 0 RESET_B
port 8 nsew
flabel locali s 305 289 339 323 0 FreeSans 400 0 0 0 D
port 7 nsew
flabel locali s 30 289 64 323 0 FreeSans 400 0 0 0 CLK
port 6 nsew
flabel locali s 30 221 64 255 0 FreeSans 400 0 0 0 CLK
port 6 nsew
flabel locali s 1481 221 1515 255 0 FreeSans 400 0 0 0 RESET_B
port 8 nsew
flabel metal1 s 29 -17 63 17 0 FreeSans 200 0 0 0 VGND
port 2 nsew
flabel metal1 s 29 527 63 561 0 FreeSans 200 0 0 0 VPWR
port 3 nsew
flabel nwell s 29 527 63 561 0 FreeSans 200 0 0 0 VPB
port 4 nsew
flabel pwell s 29 -17 63 17 0 FreeSans 200 0 0 0 VNB
port 5 nsew
rlabel comment s 0 0 0 0 4 dfrbp_2
<< properties >>
string FIXED_BBOX 0 0 2208 544
string path 9.660 0.000 10.120 0.000 
<< end >>

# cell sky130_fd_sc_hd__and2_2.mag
magic
tech sky130A
magscale 1 2
<< nwell >>
rect -38 261 590 582
<< pwell >>
rect 231 185 549 203
rect 35 21 549 185
rect 35 17 63 21
rect 29 -17 63 17
<< scnmos >>
rect 117 75 147 159
rect 201 75 231 159
rect 309 47 339 177
rect 417 47 447 177
<< scpmoshvt >>
rect 117 371 147 455
rect 201 371 231 455
rect 309 297 339 497
rect 417 297 447 497
<< ndiff >>
rect 257 159 309 177
rect 61 121 117 159
rect 61 87 73 121
rect 107 87 117 121
rect 61 75 117 87
rect 147 75 201 159
rect 231 93 309 159
rect 231 75 265 93
rect 257 59 265 75
rect 299 59 309 93
rect 257 47 309 59
rect 339 93 417 177
rect 339 59 349 93
rect 383 59 417 93
rect 339 47 417 59
rect 447 161 523 177
rect 447 127 477 161
rect 511 127 523 161
rect 447 93 523 127
rect 447 59 477 93
rect 511 59 523 93
rect 447 47 523 59
<< pdiff >>
rect 257 485 309 497
rect 257 455 265 485
rect 61 443 117 455
rect 61 409 73 443
rect 107 409 117 443
rect 61 371 117 409
rect 147 443 201 455
rect 147 409 157 443
rect 191 409 201 443
rect 147 371 201 409
rect 231 451 265 455
rect 299 451 309 485
rect 231 417 309 451
rect 231 383 265 417
rect 299 383 309 417
rect 231 371 309 383
rect 247 297 309 371
rect 339 485 417 497
rect 339 451 369 485
rect 403 451 417 485
rect 339 417 417 451
rect 339 383 369 417
rect 403 383 417 417
rect 339 297 417 383
rect 447 485 523 497
rect 447 451 477 485
rect 511 451 523 485
rect 447 417 523 451
rect 447 383 477 417
rect 511 383 523 417
rect 447 349 523 383
rect 447 315 477 349
rect 511 315 523 349
rect 447 297 523 315
<< ndiffc >>
rect 73 87 107 121
rect 265 59 299 93
rect 349 59 383 93
rect 477 127 511 161
rect 477 59 511 93
<< pdiffc >>
rect 73 409 107 443
rect 157 409 191 443
rect 265 451 299 485
rect 265 383 299 417
rect 369 451 403 485
rect 369 383 403 417
rect 477 451 511 485
rect 477 383 511 417
rect 477 315 511 349
<< poly >>
rect 309 497 339 523
rect 417 497 447 523
rect 117 455 147 481
rect 201 455 231 481
rect 117 265 147 371
rect 60 249 147 265
rect 60 215 76 249
rect 110 215 147 249
rect 60 199 147 215
rect 117 159 147 199
rect 201 265 231 371
rect 309 265 339 297
rect 417 265 447 297
rect 201 249 267 265
rect 201 215 217 249
rect 251 215 267 249
rect 201 199 267 215
rect 309 249 447 265
rect 309 215 325 249
rect 359 215 447 249
rect 309 199 447 215
rect 201 159 231 199
rect 309 177 339 199
rect 417 177 447 199
rect 117 49 147 75
rect 201 49 231 75
rect 309 21 339 47
rect 417 21 447 47
<< polycont >>
rect 76 215 110 249
rect 217 215 251 249
rect 325 215 359 249
<< locali >>
rect 0 527 29 561
rect 63 527 121 561
rect 155 527 213 561
rect 247 527 305 561
rect 339 527 397 561
rect 431 527 489 561
rect 523 527 552 561
rect 57 443 113 527
rect 249 485 315 527
rect 57 409 73 443
rect 107 409 113 443
rect 57 393 113 409
rect 147 443 207 459
rect 147 409 157 443
rect 191 409 207 443
rect 17 265 80 353
rect 147 349 207 409
rect 249 451 265 485
rect 299 451 315 485
rect 249 417 315 451
rect 249 383 265 417
rect 299 383 315 417
rect 353 485 443 493
rect 353 451 369 485
rect 403 451 443 485
rect 353 417 443 451
rect 353 383 369 417
rect 403 383 443 417
rect 147 315 335 349
rect 301 265 335 315
rect 17 249 155 265
rect 17 215 76 249
rect 110 215 155 249
rect 201 249 267 265
rect 201 215 217 249
rect 251 215 267 249
rect 301 249 359 265
rect 301 215 325 249
rect 301 199 359 215
rect 301 181 335 199
rect 57 143 335 181
rect 57 121 123 143
rect 57 87 73 121
rect 107 87 123 121
rect 393 109 443 383
rect 477 485 535 527
rect 511 451 535 485
rect 477 417 535 451
rect 511 383 535 417
rect 477 349 535 383
rect 511 315 535 349
rect 477 299 535 315
rect 57 71 123 87
rect 249 93 299 109
rect 249 59 265 93
rect 249 17 299 59
rect 333 93 443 109
rect 333 59 349 93
rect 383 59 443 93
rect 333 51 443 59
rect 477 161 535 177
rect 511 127 535 161
rect 477 93 535 127
rect 511 59 535 93
rect 477 17 535 59
rect 0 -17 29 17
rect 63 -17 121 17
rect 155 -17 213 17
rect 247 -17 305 17
rect 339 -17 397 17
rect 431 -17 489 17
rect 523 -17 552 17
<< viali >>
rect 29 527 63 561
rect 121 527 155 561
rect 213 527 247 561
rect 305 527 339 561
rect 397 527 431 561
rect 489 527 523 561
rect 29 -17 63 17
rect 121 -17 155 17
rect 213 -17 247 17
rect 305 -17 339 17
rect 397 -17 431 17
rect 489 -17 523 17
<< metal1 >>
rect 0 561 552 592
rect 0 527 29 561
rect 63 527 121 561
rect 155 527 213 561
rect 247 527 305 561
rect 339 527 397 561
rect 431 527 489 561
rect 523 527 552 561
rect 0 496 552 527
rect 0 17 552 48
rect 0 -17 29 17
rect 63 -17 121 17
rect 155 -17 213 17
rect 247 -17 305 17
rect 339 -17 397 17
rect 431 -17 489 17
rect 523 -17 552 17
rect 0 -48 552 -17
<< labels >>
flabel metal1 s 29 527 63 561 0 FreeSans 200 0 0 0 VPWR
port 2 nsew
flabel metal1 s 29 -17 63 17 0 FreeSans 200 0 0 0 VGND
port 3 nsew
flabel locali s 121 221 155 255 0 FreeSans 250 0 0 0 A
port 4 nsew
flabel locali s 397 153 431 187 0 FreeSans 250 0 0 0 X
port 5 nsew
flabel locali s 29 221 63 255 0 FreeSans 250 0 0 0 A
port 4 nsew
flabel locali s 397 85 431 119 0 FreeSans 250 0 0 0 X
port 5 nsew
flabel locali s 397 221 431 255 0 FreeSans 250 0 0 0 X
port 5 nsew
flabel locali s 397 289 431 323 0 FreeSans 250 0 0 0 X
port 5 nsew
flabel locali s 397 357 431 391 0 FreeSans 250 0 0 0 X
port 5 nsew
flabel locali s 397 425 431 459 0 FreeSans 250 0 0 0 X
port 5 nsew
flabel locali s 213 221 247 255 0 FreeSans 250 0 0 0 B
port 6 nsew
flabel nwell s 29 527 63 561 0 FreeSans 200 0 0 0 VPB
port 7 nsew
flabel pwell s 29 -17 63 17 0 FreeSans 200 0 0 0 VNB
port 8 nsew
rlabel comment s 0 0 0 0 4 and2_2
<< properties >>
string FIXED_BBOX 0 0 552 544
string path 0.000 2.720 2.760 2.720 
<< end >>

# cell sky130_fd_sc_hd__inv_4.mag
magic
tech sky130A
magscale 1 2
<< nwell >>
rect -38 261 498 582
<< pwell >>
rect 11 21 449 203
rect 29 -17 63 21
<< scnmos >>
rect 89 47 119 177
rect 173 47 203 177
rect 257 47 287 177
rect 341 47 371 177
<< scpmoshvt >>
rect 89 297 119 497
rect 173 297 203 497
rect 257 297 287 497
rect 341 297 371 497
<< ndiff >>
rect 37 93 89 177
rect 37 59 45 93
rect 79 59 89 93
rect 37 47 89 59
rect 119 101 173 177
rect 119 67 129 101
rect 163 67 173 101
rect 119 47 173 67
rect 203 93 257 177
rect 203 59 213 93
rect 247 59 257 93
rect 203 47 257 59
rect 287 101 341 177
rect 287 67 297 101
rect 331 67 341 101
rect 287 47 341 67
rect 371 94 423 177
rect 371 60 381 94
rect 415 60 423 94
rect 371 47 423 60
<< pdiff >>
rect 37 485 89 497
rect 37 451 45 485
rect 79 451 89 485
rect 37 417 89 451
rect 37 383 45 417
rect 79 383 89 417
rect 37 349 89 383
rect 37 315 45 349
rect 79 315 89 349
rect 37 297 89 315
rect 119 485 173 497
rect 119 451 129 485
rect 163 451 173 485
rect 119 417 173 451
rect 119 383 129 417
rect 163 383 173 417
rect 119 349 173 383
rect 119 315 129 349
rect 163 315 173 349
rect 119 297 173 315
rect 203 485 257 497
rect 203 451 213 485
rect 247 451 257 485
rect 203 417 257 451
rect 203 383 213 417
rect 247 383 257 417
rect 203 297 257 383
rect 287 485 341 497
rect 287 451 297 485
rect 331 451 341 485
rect 287 417 341 451
rect 287 383 297 417
rect 331 383 341 417
rect 287 349 341 383
rect 287 315 297 349
rect 331 315 341 349
rect 287 297 341 315
rect 371 485 423 497
rect 371 451 381 485
rect 415 451 423 485
rect 371 297 423 451
<< ndiffc >>
rect 45 59 79 93
rect 129 67 163 101
rect 213 59 247 93
rect 297 67 331 101
rect 381 60 415 94
<< pdiffc >>
rect 45 451 79 485
rect 45 383 79 417
rect 45 315 79 349
rect 129 451 163 485
rect 129 383 163 417
rect 129 315 163 349
rect 213 451 247 485
rect 213 383 247 417
rect 297 451 331 485
rect 297 383 331 417
rect 297 315 331 349
rect 381 451 415 485
<< poly >>
rect 89 497 119 523
rect 173 497 203 523
rect 257 497 287 523
rect 341 497 371 523
rect 89 265 119 297
rect 173 265 203 297
rect 257 265 287 297
rect 341 265 371 297
rect 21 249 371 265
rect 21 215 37 249
rect 71 215 129 249
rect 163 215 213 249
rect 247 215 297 249
rect 331 215 371 249
rect 21 199 371 215
rect 89 177 119 199
rect 173 177 203 199
rect 257 177 287 199
rect 341 177 371 199
rect 89 21 119 47
rect 173 21 203 47
rect 257 21 287 47
rect 341 21 371 47
<< polycont >>
rect 37 215 71 249
rect 129 215 163 249
rect 213 215 247 249
rect 297 215 331 249
<< locali >>
rect 0 527 29 561
rect 63 527 121 561
rect 155 527 213 561
rect 247 527 305 561
rect 339 527 397 561
rect 431 527 460 561
rect 26 485 79 527
rect 26 451 45 485
rect 26 417 79 451
rect 26 383 45 417
rect 26 349 79 383
rect 26 315 45 349
rect 26 299 79 315
rect 113 485 179 493
rect 113 451 129 485
rect 163 451 179 485
rect 113 417 179 451
rect 113 383 129 417
rect 163 383 179 417
rect 113 349 179 383
rect 213 485 247 527
rect 213 417 247 451
rect 213 367 247 383
rect 281 485 347 493
rect 281 451 297 485
rect 331 451 347 485
rect 281 417 347 451
rect 381 485 423 527
rect 415 451 423 485
rect 381 435 423 451
rect 281 383 297 417
rect 331 383 347 417
rect 113 315 129 349
rect 163 333 179 349
rect 281 349 347 383
rect 281 333 297 349
rect 163 315 297 333
rect 331 337 347 349
rect 331 315 434 337
rect 113 299 434 315
rect 21 249 347 265
rect 21 215 37 249
rect 71 215 129 249
rect 163 215 213 249
rect 247 215 297 249
rect 331 215 347 249
rect 381 181 434 299
rect 113 145 434 181
rect 26 93 79 109
rect 26 59 45 93
rect 26 17 79 59
rect 113 101 179 145
rect 113 67 129 101
rect 163 67 179 101
rect 113 51 179 67
rect 213 93 247 109
rect 213 17 247 59
rect 281 101 347 145
rect 281 67 297 101
rect 331 67 347 101
rect 281 51 347 67
rect 381 94 431 110
rect 415 60 431 94
rect 381 17 431 60
rect 0 -17 29 17
rect 63 -17 121 17
rect 155 -17 213 17
rect 247 -17 305 17
rect 339 -17 397 17
rect 431 -17 460 17
<< viali >>
rect 29 527 63 561
rect 121 527 155 561
rect 213 527 247 561
rect 305 527 339 561
rect 397 527 431 561
rect 29 -17 63 17
rect 121 -17 155 17
rect 213 -17 247 17
rect 305 -17 339 17
rect 397 -17 431 17
<< metal1 >>
rect 0 561 460 592
rect 0 527 29 561
rect 63 527 121 561
rect 155 527 213 561
rect 247 527 305 561
rect 339 527 397 561
rect 431 527 460 561
rect 0 496 460 527
rect 0 17 460 48
rect 0 -17 29 17
rect 63 -17 121 17
rect 155 -17 213 17
rect 247 -17 305 17
rect 339 -17 397 17
rect 431 -17 460 17
rect 0 -48 460 -17
<< labels >>
flabel locali s 397 153 431 187 0 FreeSans 340 0 0 0 Y
port 6 nsew
flabel locali s 397 221 431 255 0 FreeSans 340 0 0 0 Y
port 6 nsew
flabel locali s 397 289 431 323 0 FreeSans 340 0 0 0 Y
port 6 nsew
flabel locali s 29 221 63 255 0 FreeSans 340 0 0 0 A
port 7 nsew
flabel locali s 121 221 155 255 0 FreeSans 340 0 0 0 A
port 7 nsew
flabel locali s 213 221 247 255 0 FreeSans 340 0 0 0 A
port 7 nsew
flabel locali s 305 221 339 255 0 FreeSans 340 0 0 0 A
port 7 nsew
flabel nwell s 29 527 63 561 0 FreeSans 200 0 0 0 VPB
port 2 nsew
flabel pwell s 29 -17 63 17 0 FreeSans 200 0 0 0 VNB
port 3 nsew
flabel metal1 s 29 527 63 561 0 FreeSans 200 0 0 0 VPWR
port 4 nsew
flabel metal1 s 29 -17 63 17 0 FreeSans 200 0 0 0 VGND
port 5 nsew
rlabel comment s 0 0 0 0 4 inv_4
<< properties >>
string FIXED_BBOX 0 0 460 544
string path 0.000 0.000 2.300 0.000 
<< end >>
